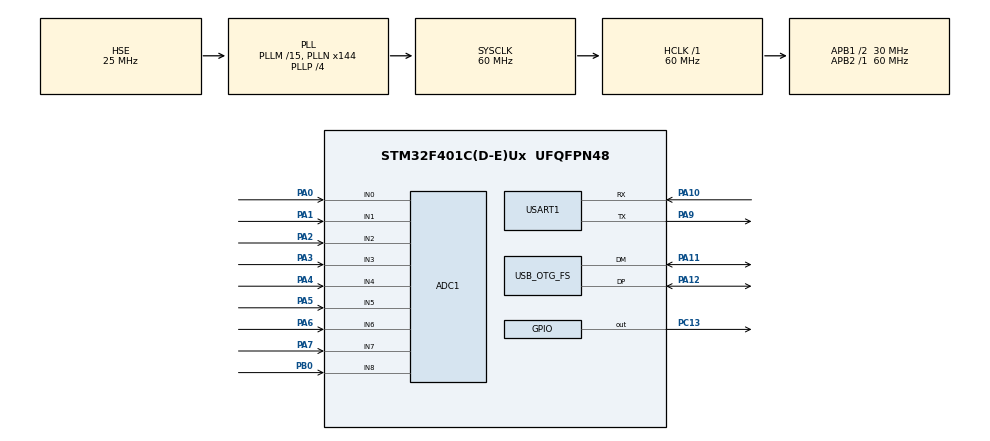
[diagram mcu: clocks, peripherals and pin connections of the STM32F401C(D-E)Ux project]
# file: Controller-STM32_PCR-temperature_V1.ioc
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ADC1.Channel-1\#ChannelRegularConversion=ADC_CHANNEL_0
ADC1.Channel-2\#ChannelRegularConversion=ADC_CHANNEL_1
ADC1.Channel-3\#ChannelRegularConversion=ADC_CHANNEL_2
ADC1.Channel-4\#ChannelRegularConversion=ADC_CHANNEL_3
ADC1.Channel-5\#ChannelRegularConversion=ADC_CHANNEL_4
ADC1.Channel-6\#ChannelRegularConversion=ADC_CHANNEL_5
ADC1.Channel-7\#ChannelRegularConversion=ADC_CHANNEL_6
ADC1.Channel-8\#ChannelRegularConversion=ADC_CHANNEL_7
ADC1.Channel-9\#ChannelRegularConversion=ADC_CHANNEL_8
ADC1.InjNumberOfConversion=0
ADC1.NbrOfConversion=9
ADC1.NbrOfConversionFlag=1
ADC1.Rank-1\#ChannelRegularConversion=1
ADC1.Rank-2\#ChannelRegularConversion=2
ADC1.Rank-3\#ChannelRegularConversion=3
ADC1.Rank-4\#ChannelRegularConversion=4
ADC1.Rank-5\#ChannelRegularConversion=5
ADC1.Rank-6\#ChannelRegularConversion=6
ADC1.Rank-7\#ChannelRegularConversion=7
ADC1.Rank-8\#ChannelRegularConversion=8
ADC1.Rank-9\#ChannelRegularConversion=9
ADC1.SamplingTime-1\#ChannelRegularConversion=ADC_SAMPLETIME_15CYCLES
ADC1.SamplingTime-2\#ChannelRegularConversion=ADC_SAMPLETIME_15CYCLES
ADC1.SamplingTime-3\#ChannelRegularConversion=ADC_SAMPLETIME_15CYCLES
ADC1.SamplingTime-4\#ChannelRegularConversion=ADC_SAMPLETIME_15CYCLES
ADC1.SamplingTime-5\#ChannelRegularConversion=ADC_SAMPLETIME_15CYCLES
ADC1.SamplingTime-6\#ChannelRegularConversion=ADC_SAMPLETIME_15CYCLES
ADC1.SamplingTime-7\#ChannelRegularConversion=ADC_SAMPLETIME_15CYCLES
ADC1.SamplingTime-8\#ChannelRegularConversion=ADC_SAMPLETIME_15CYCLES
ADC1.SamplingTime-9\#ChannelRegularConversion=ADC_SAMPLETIME_15CYCLES
ADC1.ScanConvMode=ENABLE
ADC1.master=1
Mcu.Family=STM32F4
Mcu.Name=STM32F401C(D-E)Ux
Mcu.Package=UFQFPN48
NVIC.OTG_FS_IRQn=true\:0\:0\:false\:false\:true\:false\:true\:true
NVIC.PriorityGroup=NVIC_PRIORITYGROUP_4
PA0-WKUP.Signal=SharedAnalog_PA0
PA1.Signal=SharedAnalog_PA1
PA10.Mode=Asynchronous
PA10.Signal=USART1_RX
PA11.Mode=Device_Only
PA11.Signal=USB_OTG_FS_DM
PA12.Mode=Device_Only
PA12.Signal=USB_OTG_FS_DP
PA13.Mode=Serial_Wire
PA13.Signal=SYS_JTMS-SWDIO
PA14.Mode=Serial_Wire
PA14.Signal=SYS_JTCK-SWCLK
PA2.Signal=SharedAnalog_PA2
PA3.Signal=SharedAnalog_PA3
PA4.Signal=SharedAnalog_PA4
PA5.Signal=SharedAnalog_PA5
PA6.Signal=SharedAnalog_PA6
PA7.Signal=SharedAnalog_PA7
PA9.Mode=Asynchronous
PA9.Signal=USART1_TX
PB0.Signal=SharedAnalog_PB0
PC13-ANTI_TAMP.Signal=GPIO_Output
PH0\ -\ OSC_IN.Mode=HSE-External-Oscillator
PH0\ -\ OSC_IN.Signal=RCC_OSC_IN
PH1\ -\ OSC_OUT.Mode=HSE-External-Oscillator
PH1\ -\ OSC_OUT.Signal=RCC_OSC_OUT
ProjectManager.HeapSize=0x200
ProjectManager.StackSize=0x400
ProjectManager.TargetToolchain=CMake
RCC.48MHZClocksFreq_Value=48000000
RCC.AHBFreq_Value=60000000
RCC.APB1CLKDivider=RCC_HCLK_DIV2
RCC.APB1Freq_Value=30000000
RCC.APB1TimFreq_Value=60000000
RCC.APB2Freq_Value=60000000
RCC.APB2TimFreq_Value=60000000
RCC.CortexFreq_Value=60000000
RCC.HCLKFreq_Value=60000000
RCC.HSE_VALUE=25000000
RCC.HSI_VALUE=16000000
RCC.LSE_VALUE=32768
RCC.PLLM=15
RCC.PLLN=144
RCC.PLLP=RCC_PLLP_DIV4
RCC.PLLQ=5
RCC.SYSCLKFreq_VALUE=60000000
RCC.SYSCLKSource=RCC_SYSCLKSOURCE_PLLCLK
RCC.VCOOutputFreq_Value=240000000
SH.SharedAnalog_PA0.0=GPIO_Analog
SH.SharedAnalog_PA0.1=ADC1_IN0,IN0
SH.SharedAnalog_PA1.0=GPIO_Analog
SH.SharedAnalog_PA1.1=ADC1_IN1,IN1
SH.SharedAnalog_PA2.0=GPIO_Analog
SH.SharedAnalog_PA2.1=ADC1_IN2,IN2
SH.SharedAnalog_PA3.0=GPIO_Analog
SH.SharedAnalog_PA3.1=ADC1_IN3,IN3
SH.SharedAnalog_PA4.0=GPIO_Analog
SH.SharedAnalog_PA4.1=ADC1_IN4,IN4
SH.SharedAnalog_PA5.0=GPIO_Analog
SH.SharedAnalog_PA5.1=ADC1_IN5,IN5
SH.SharedAnalog_PA6.0=GPIO_Analog
SH.SharedAnalog_PA6.1=ADC1_IN6,IN6
SH.SharedAnalog_PA7.0=GPIO_Analog
SH.SharedAnalog_PA7.1=ADC1_IN7,IN7
SH.SharedAnalog_PB0.0=GPIO_Analog
SH.SharedAnalog_PB0.1=ADC1_IN8,IN8
USART1.VirtualMode=VM_ASYNC
USB_DEVICE.CLASS_NAME_FS=CDC
USB_DEVICE.VirtualMode-CDC_FS=Cdc
USB_DEVICE.VirtualModeFS=Cdc_FS
USB_OTG_FS.VirtualMode=Device_Only
VP_USB_DEVICE_VS_USB_DEVICE_CDC_FS.Mode=CDC_FS
board=custom

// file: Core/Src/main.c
/* USER CODE BEGIN Header */
/**
  ******************************************************************************
  * @file           : main.c
  * @brief          : Main program body
  ******************************************************************************
  * @attention
  *
  * Copyright (c) 2026 STMicroelectronics.
  * All rights reserved.
  *
  * This software is licensed under terms that can be found in the LICENSE file
  * in the root directory of this software component.
  * If no LICENSE file comes with this software, it is provided AS-IS.
  *
  ******************************************************************************
  */
/* USER CODE END Header */
#include "main.h"
#include "usb_device.h"

/* USER CODE BEGIN Includes */
#include <stdio.h>
#include <math.h>
#include <string.h>
#include "usbd_cdc_if.h"

/* USER CODE END Includes */

ADC_HandleTypeDef hadc1;

UART_HandleTypeDef huart1;

/* USER CODE BEGIN PV */
#define VREF        3.3f
#define ADC_MAX     4095.0f
#define R_FIXED     10000.0f
#define R0          10000.0f
#define T0          298.15f
#define BETA        3976.0f

char uart_buffer[256];
volatile uint8_t usb_status = 255;

volatile uint32_t adc_ntc1 = 0;
volatile uint32_t adc_ntc2 = 0;
volatile uint32_t adc_ntc3 = 0;
volatile uint32_t adc_ntc4 = 0;
volatile uint32_t adc_ntc5 = 0;
volatile uint32_t adc_ntc6 = 0;
volatile uint32_t adc_ntc7 = 0;
volatile uint32_t adc_ntc8 = 0;
volatile uint32_t adc_ntc9 = 0;

volatile float temperature_ntc1 = 0.0f;
volatile float temperature_ntc2 = 0.0f;
volatile float temperature_ntc3 = 0.0f;
volatile float temperature_ntc4 = 0.0f;
volatile float temperature_ntc5 = 0.0f;
volatile float temperature_ntc6 = 0.0f;
volatile float temperature_ntc7 = 0.0f;
volatile float temperature_ntc8 = 0.0f;
volatile float temperature_ntc9 = 0.0f;

/* USER CODE END PV */

void SystemClock_Config(void);
static void MX_GPIO_Init(void);
static void MX_ADC1_Init(void);
static void MX_USART1_UART_Init(void);

/* USER CODE BEGIN 0 */
float Read_NTC_Temperature(
    uint32_t channel,
    volatile uint32_t *adc_result)
{
    ADC_ChannelConfTypeDef sConfig = {0};

    uint32_t adc_value;
    float voltage;
    float resistance;
    float temperature_kelvin;
    float temperature_celsius;

    /* Pilih kanal ADC yang akan dibaca */
    sConfig.Channel = channel;
    sConfig.Rank = 1;
    sConfig.SamplingTime = ADC_SAMPLETIME_84CYCLES;

    if (HAL_ADC_ConfigChannel(&hadc1, &sConfig) != HAL_OK)
    {
        return -999.0f;
    }

    if (HAL_ADC_Start(&hadc1) != HAL_OK)
    {
        return -999.0f;
    }

    if (HAL_ADC_PollForConversion(&hadc1, 100) != HAL_OK)
    {
        HAL_ADC_Stop(&hadc1);
        return -999.0f;
    }

    adc_value = HAL_ADC_GetValue(&hadc1);
    HAL_ADC_Stop(&hadc1);

    *adc_result = adc_value;

    /* Periksa batas pembacaan ADC */
    if (adc_value == 0 || adc_value >= 4095)
    {
        return -999.0f;
    }

    /* Konversi ADC menjadi tegangan */
    voltage = ((float)adc_value / ADC_MAX) * VREF;

    /* NTC ke 3.3 V, resistor tetap ke GND */
    resistance = R_FIXED * (VREF / voltage - 1.0f);

    if (resistance <= 0.0f)
    {
        return -999.0f;
    }

    /* Persamaan Beta NTC */
    temperature_kelvin =
        1.0f / ((1.0f / T0) +
        (logf(resistance / R0) / BETA));

    temperature_celsius = temperature_kelvin - 273.15f;

    return temperature_celsius;
}

/* USER CODE END 0 */

int main(void)
{

  /* MCU Configuration--------------------------------------------------------*/

  /* Reset of all peripherals, Initializes the Flash interface and the Systick. */
  HAL_Init();

  /* Configure the system clock */
  SystemClock_Config();

  /* Initialize all configured peripherals */
  MX_GPIO_Init();
  MX_ADC1_Init();
  MX_USART1_UART_Init();
  MX_USB_DEVICE_Init();

  /* Infinite loop */
  while (1)
  {

    /* USER CODE BEGIN 3 */

/* Baca 8 sensor secara bergantian */
  temperature_ntc1 =
    Read_NTC_Temperature(ADC_CHANNEL_0, &adc_ntc1);
  temperature_ntc2  =
    Read_NTC_Temperature(ADC_CHANNEL_1, &adc_ntc2);
  temperature_ntc3  =
    Read_NTC_Temperature(ADC_CHANNEL_2, &adc_ntc3);
  temperature_ntc4  =
    Read_NTC_Temperature(ADC_CHANNEL_3, &adc_ntc4);
  temperature_ntc5  =
    Read_NTC_Temperature(ADC_CHANNEL_4, &adc_ntc5);
  temperature_ntc6  =
    Read_NTC_Temperature(ADC_CHANNEL_5, &adc_ntc6);
  temperature_ntc7  =
    Read_NTC_Temperature(ADC_CHANNEL_6, &adc_ntc7);
  temperature_ntc8  =
    Read_NTC_Temperature(ADC_CHANNEL_7, &adc_ntc8);
  temperature_ntc9 =
    Read_NTC_Temperature(ADC_CHANNEL_8, &adc_ntc9);

/* Format data untuk Serial Monitor */
snprintf(
    uart_buffer,
    sizeof(uart_buffer),
    "T1:%.2f ADC:%lu | T2:%.2f ADC:%lu | "
    "T3:%.2f ADC:%lu | T4:%.2f ADC:%lu\r\n"
    "T5:%.2f ADC:%lu | T6:%.2f ADC:%lu | "
    "T7:%.2f ADC:%lu | T8:%.2f ADC:%lu\r\n"
    "T9:%.2f ADC:%lu\r\n",

    temperature_ntc1, (unsigned long)adc_ntc1,
    temperature_ntc2, (unsigned long)adc_ntc2,
    temperature_ntc3, (unsigned long)adc_ntc3,
    temperature_ntc4, (unsigned long)adc_ntc4,
    temperature_ntc5, (unsigned long)adc_ntc5,
    temperature_ntc6, (unsigned long)adc_ntc6,
    temperature_ntc7, (unsigned long)adc_ntc7,
    temperature_ntc8, (unsigned long)adc_ntc8,
    temperature_ntc9, (unsigned long)adc_ntc9
);

  HAL_UART_Transmit(
      &huart1,
      (uint8_t *)uart_buffer,
      (uint16_t)strlen(uart_buffer),
      HAL_MAX_DELAY
  );

usb_status = CDC_Transmit_FS(
    (uint8_t *)uart_buffer,
    (uint16_t)strlen(uart_buffer)
);

  HAL_GPIO_TogglePin(GPIOC, GPIO_PIN_13);
  HAL_Delay(1000);
  }

  /* USER CODE END 3 */
}

void SystemClock_Config(void)
{
  RCC_OscInitTypeDef RCC_OscInitStruct = {0};
  RCC_ClkInitTypeDef RCC_ClkInitStruct = {0};

  /** Configure the main internal regulator output voltage
  */
  __HAL_RCC_PWR_CLK_ENABLE();
  __HAL_PWR_VOLTAGESCALING_CONFIG(PWR_REGULATOR_VOLTAGE_SCALE2);

  /** Initializes the RCC Oscillators according to the specified parameters
  * in the RCC_OscInitTypeDef structure.
  */
  RCC_OscInitStruct.OscillatorType = RCC_OSCILLATORTYPE_HSE;
  RCC_OscInitStruct.HSEState = RCC_HSE_ON;
  RCC_OscInitStruct.PLL.PLLState = RCC_PLL_ON;
  RCC_OscInitStruct.PLL.PLLSource = RCC_PLLSOURCE_HSE;
  RCC_OscInitStruct.PLL.PLLM = 15;
  RCC_OscInitStruct.PLL.PLLN = 144;
  RCC_OscInitStruct.PLL.PLLP = RCC_PLLP_DIV4;
  RCC_OscInitStruct.PLL.PLLQ = 5;
  if (HAL_RCC_OscConfig(&RCC_OscInitStruct) != HAL_OK)
  {
    Error_Handler();
  }

  /** Initializes the CPU, AHB and APB buses clocks
  */
  RCC_ClkInitStruct.ClockType = RCC_CLOCKTYPE_HCLK|RCC_CLOCKTYPE_SYSCLK
                              |RCC_CLOCKTYPE_PCLK1|RCC_CLOCKTYPE_PCLK2;
  RCC_ClkInitStruct.SYSCLKSource = RCC_SYSCLKSOURCE_PLLCLK;
  RCC_ClkInitStruct.AHBCLKDivider = RCC_SYSCLK_DIV1;
  RCC_ClkInitStruct.APB1CLKDivider = RCC_HCLK_DIV2;
  RCC_ClkInitStruct.APB2CLKDivider = RCC_HCLK_DIV1;

  if (HAL_RCC_ClockConfig(&RCC_ClkInitStruct, FLASH_LATENCY_1) != HAL_OK)
  {
    Error_Handler();
  }
}

static void MX_ADC1_Init(void)
{

  ADC_ChannelConfTypeDef sConfig = {0};

  /** Configure the global features of the ADC (Clock, Resolution, Data Alignment and number of conversion)
  */
  hadc1.Instance = ADC1;
  hadc1.Init.ClockPrescaler = ADC_CLOCK_SYNC_PCLK_DIV2;
  hadc1.Init.Resolution = ADC_RESOLUTION_12B;
  hadc1.Init.ScanConvMode = ENABLE;
  hadc1.Init.ContinuousConvMode = DISABLE;
  hadc1.Init.DiscontinuousConvMode = DISABLE;
  hadc1.Init.ExternalTrigConvEdge = ADC_EXTERNALTRIGCONVEDGE_NONE;
  hadc1.Init.ExternalTrigConv = ADC_SOFTWARE_START;
  hadc1.Init.DataAlign = ADC_DATAALIGN_RIGHT;
  hadc1.Init.NbrOfConversion = 9;
  hadc1.Init.DMAContinuousRequests = DISABLE;
  hadc1.Init.EOCSelection = ADC_EOC_SINGLE_CONV;
  if (HAL_ADC_Init(&hadc1) != HAL_OK)
  {
    Error_Handler();
  }

  /** Configure for the selected ADC regular channel its corresponding rank in the sequencer and its sample time.
  */
  sConfig.Channel = ADC_CHANNEL_0;
  sConfig.Rank = 1;
  sConfig.SamplingTime = ADC_SAMPLETIME_15CYCLES;
  if (HAL_ADC_ConfigChannel(&hadc1, &sConfig) != HAL_OK)
  {
    Error_Handler();
  }

  /** Configure for the selected ADC regular channel its corresponding rank in the sequencer and its sample time.
  */
  sConfig.Channel = ADC_CHANNEL_1;
  sConfig.Rank = 2;
  if (HAL_ADC_ConfigChannel(&hadc1, &sConfig) != HAL_OK)
  {
    Error_Handler();
  }

  /** Configure for the selected ADC regular channel its corresponding rank in the sequencer and its sample time.
  */
  sConfig.Channel = ADC_CHANNEL_2;
  sConfig.Rank = 3;
  if (HAL_ADC_ConfigChannel(&hadc1, &sConfig) != HAL_OK)
  {
    Error_Handler();
  }

  /** Configure for the selected ADC regular channel its corresponding rank in the sequencer and its sample time.
  */
  sConfig.Channel = ADC_CHANNEL_3;
  sConfig.Rank = 4;
  if (HAL_ADC_ConfigChannel(&hadc1, &sConfig) != HAL_OK)
  {
    Error_Handler();
  }

  /** Configure for the selected ADC regular channel its corresponding rank in the sequencer and its sample time.
  */
  sConfig.Channel = ADC_CHANNEL_4;
  sConfig.Rank = 5;
  if (HAL_ADC_ConfigChannel(&hadc1, &sConfig) != HAL_OK)
  {
    Error_Handler();
  }

  /** Configure for the selected ADC regular channel its corresponding rank in the sequencer and its sample time.
  */
  sConfig.Channel = ADC_CHANNEL_5;
  sConfig.Rank = 6;
  if (HAL_ADC_ConfigChannel(&hadc1, &sConfig) != HAL_OK)
  {
    Error_Handler();
  }

  /** Configure for the selected ADC regular channel its corresponding rank in the sequencer and its sample time.
  */
  sConfig.Channel = ADC_CHANNEL_6;
  sConfig.Rank = 7;
  if (HAL_ADC_ConfigChannel(&hadc1, &sConfig) != HAL_OK)
  {
    Error_Handler();
  }

  /** Configure for the selected ADC regular channel its corresponding rank in the sequencer and its sample time.
  */
  sConfig.Channel = ADC_CHANNEL_7;
  sConfig.Rank = 8;
  if (HAL_ADC_ConfigChannel(&hadc1, &sConfig) != HAL_OK)
  {
    Error_Handler();
  }

  /** Configure for the selected ADC regular channel its corresponding rank in the sequencer and its sample time.
  */
  sConfig.Channel = ADC_CHANNEL_8;
  sConfig.Rank = 9;
  if (HAL_ADC_ConfigChannel(&hadc1, &sConfig) != HAL_OK)
  {
    Error_Handler();
  }

}

static void MX_USART1_UART_Init(void)
{

  huart1.Instance = USART1;
  huart1.Init.BaudRate = 115200;
  huart1.Init.WordLength = UART_WORDLENGTH_8B;
  huart1.Init.StopBits = UART_STOPBITS_1;
  huart1.Init.Parity = UART_PARITY_NONE;
  huart1.Init.Mode = UART_MODE_TX_RX;
  huart1.Init.HwFlowCtl = UART_HWCONTROL_NONE;
  huart1.Init.OverSampling = UART_OVERSAMPLING_16;
  if (HAL_UART_Init(&huart1) != HAL_OK)
  {
    Error_Handler();
  }

}

static void MX_GPIO_Init(void)
{
  GPIO_InitTypeDef GPIO_InitStruct = {0};

  /* GPIO Ports Clock Enable */
  __HAL_RCC_GPIOC_CLK_ENABLE();
  __HAL_RCC_GPIOH_CLK_ENABLE();
  __HAL_RCC_GPIOA_CLK_ENABLE();
  __HAL_RCC_GPIOB_CLK_ENABLE();

  /*Configure GPIO pin Output Level */
  HAL_GPIO_WritePin(GPIOC, GPIO_PIN_13, GPIO_PIN_RESET);

  /*Configure GPIO pin : PC13 */
  GPIO_InitStruct.Pin = GPIO_PIN_13;
  GPIO_InitStruct.Mode = GPIO_MODE_OUTPUT_PP;
  GPIO_InitStruct.Pull = GPIO_NOPULL;
  GPIO_InitStruct.Speed = GPIO_SPEED_FREQ_LOW;
  HAL_GPIO_Init(GPIOC, &GPIO_InitStruct);

  /* USER CODE BEGIN MX_GPIO_Init_2 */

  /* Konfigurasi pin ADC untuk 8 NTC */
  GPIO_InitStruct.Pin = GPIO_PIN_0 | GPIO_PIN_1 |
                        GPIO_PIN_2 | GPIO_PIN_3 |
                        GPIO_PIN_4 | GPIO_PIN_5 |
                        GPIO_PIN_6 | GPIO_PIN_7;

  GPIO_InitStruct.Mode = GPIO_MODE_ANALOG;
  GPIO_InitStruct.Pull = GPIO_NOPULL;
  HAL_GPIO_Init(GPIOA, &GPIO_InitStruct);

  /* Konfigurasi PB0 untuk NTC ke-9 (Ambient) */
  GPIO_InitStruct.Pin = GPIO_PIN_0;
  GPIO_InitStruct.Mode = GPIO_MODE_ANALOG;
  GPIO_InitStruct.Pull = GPIO_NOPULL;
  HAL_GPIO_Init(GPIOB, &GPIO_InitStruct);

  /* USER CODE END MX_GPIO_Init_2 */
}

void Error_Handler(void)
{
  __disable_irq();
  while (1)
  {
  }
}
